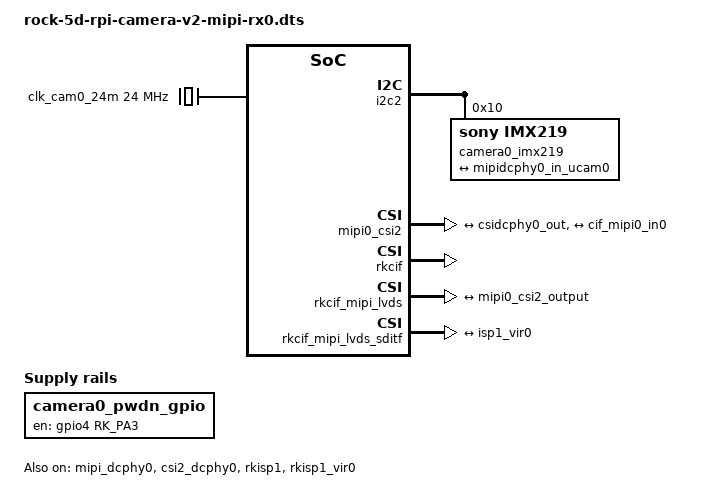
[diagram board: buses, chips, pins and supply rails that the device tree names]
/dts-v1/;
/plugin/;

#include <dt-bindings/gpio/gpio.h>
#include <dt-bindings/pinctrl/rockchip.h>

/ {
	metadata {
		title ="Enable Raspberry Pi Camera v2 on the MIPI-RX0 connector";
		compatible = "radxa,rock-5d";
		category = "camera";
		exclusive = "csi2_dcphy0";
		description = "Enable Raspberry Pi Camera v2 on the MIPI-RX0 connector.";
	};
};

&{/} {
	camera0_pwdn_gpio: camera0-pwdn-gpio {
		compatible = "regulator-fixed";
		regulator-name = "camera0_pwdn_gpio";
		regulator-always-on;
		regulator-boot-on;
		enable-active-high;
		gpio = <&gpio4 RK_PA3 GPIO_ACTIVE_HIGH>;
		pinctrl-names = "default";
		pinctrl-0 = <&cam0_pwdn_gpio>;
	};

	clk_cam0_24m: external-camera-clock-24m {
		compatible = "fixed-clock";
		clock-frequency = <24000000>;
		clock-output-names = "clk_cam0_24m";
		#clock-cells = <0>;
	};
};

&i2c2 {
	status = "okay";

	camera0_imx219: camera0-imx219@10 {
		compatible = "sony,imx219";
		reg = <0x10>;

		clocks = <&clk_cam0_24m>;
		clock-names = "xvclk";

		rockchip,camera-module-index = <1>;
		rockchip,camera-module-facing = "front";
		rockchip,camera-module-name = "rpi-camera-v2";
		rockchip,camera-module-lens-name = "default";

		port {
			imx219_out0: endpoint {
				remote-endpoint = <&mipidcphy0_in_ucam0>;
				data-lanes = <1 2>;
			};
		};
	};
};

&mipi_dcphy0 {
	status = "okay";
};

&csi2_dcphy0 {
	status = "okay";

	ports {
		#address-cells = <1>;
		#size-cells = <0>;

		port@0 {
			reg = <0>;
			#address-cells = <1>;
			#size-cells = <0>;

			mipidcphy0_in_ucam0: endpoint@2 {
				reg = <2>;
				remote-endpoint = <&imx219_out0>;
				data-lanes = <1 2>;
			};
		};

		port@1 {
			reg = <1>;
			#address-cells = <1>;
			#size-cells = <0>;

			csidcphy0_out: endpoint@0 {
				reg = <0>;
				remote-endpoint = <&mipi0_csi2_input>;
			};
		};
	};
};

&mipi0_csi2 {
	status = "okay";

	ports {
		#address-cells = <1>;
		#size-cells = <0>;

		port@0 {
			reg = <0>;
			#address-cells = <1>;
			#size-cells = <0>;

			mipi0_csi2_input: endpoint@1 {
				reg = <1>;
				remote-endpoint = <&csidcphy0_out>;
			};
		};

		port@1 {
			reg = <1>;
			#address-cells = <1>;
			#size-cells = <0>;

			mipi0_csi2_output: endpoint@0 {
				reg = <0>;
				remote-endpoint = <&cif_mipi0_in0>;
			};
		};
	};
};

&rkcif {
	status = "okay";
};

&rkcif_mipi_lvds {
	status = "okay";

	port {
		cif_mipi0_in0: endpoint {
			remote-endpoint = <&mipi0_csi2_output>;
		};
	};
};

&rkcif_mipi_lvds_sditf {
	status = "okay";

	port {
		mipi_lvds_sditf: endpoint {
			remote-endpoint = <&isp1_vir0>;
		};
	};
};

&rkcif_mmu {
	status = "okay";
};

&isp1_mmu {
	status = "okay";
};

&rkisp1 {
	status = "okay";
};

&rkisp1_vir0 {
	status = "okay";

	port {
		#address-cells = <1>;
		#size-cells = <0>;

		isp1_vir0: endpoint@0 {
			reg = <0>;
			remote-endpoint = <&mipi_lvds_sditf>;
		};
	};
};

&pinctrl {
	camera {
		cam0_pwdn_gpio: cam0-pwdn-gpio {
			rockchip,pins = <4 RK_PA3 RK_FUNC_GPIO &pcfg_pull_up>;
		};
	};
};
